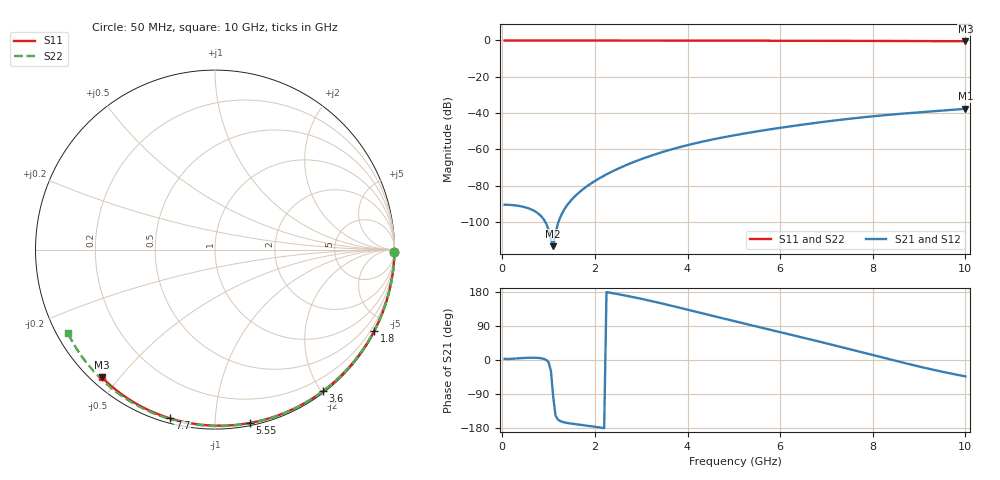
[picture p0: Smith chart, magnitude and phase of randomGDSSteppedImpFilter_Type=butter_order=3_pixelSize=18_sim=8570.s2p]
! freq	dB(S11)	phase(S11)	dB(S12)	phase(S12)
!  dB(S21)	phase(S21)	dB(S22)	phase(S22)
!S-par simulation data
#  GHz  S  DB  R 50
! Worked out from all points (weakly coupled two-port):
!   200 points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, 50 MHz to 10 GHz, reference 50 ohm
!   highest |S21| = -37.60 dB at 10 GHz (marker M1); lowest = -113.2 dB at 1.1 GHz (marker M2)
!   lowest |S11| = -0.4 dB at 10 GHz (marker M3), VSWR 39.35, Z = 1.53 - j22.5 ohm
!   |S11| at or under -10 dB: nowhere
!   |S22| runs from -0.5 to 0.0 dB; largest |S21 - S12| = 0
!   S11 on the Smith chart (normalised r, x): 50 MHz: open; 1.8 GHz: 0.04, -4.17; 3.6 GHz: 0.02, -2.02; 5.55 GHz: 0.02, -1.22; 7.7 GHz: 0.02, -0.77; 10 GHz: 0.03, -0.45
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0.05  -0.00 -0.8  -90.37 3.0  -90.37 3.0  -0.00 -0.9
0.55  -0.01 -8.3  -92.24 5.8  -92.24 5.8  -0.01 -9.5
1.1  -0.02 -16.6  -113.20 -97.7  -113.20 -97.7  -0.02 -18.9
1.75  -0.03 -26.2  -81.72 -172.0  -81.72 -172.0  -0.04 -29.9
1.8  -0.03 -26.9  -80.75 -172.8  -80.75 -172.8  -0.04 -30.7
1.85  -0.04 -27.7  -79.84 -173.6  -79.84 -173.6  -0.04 -31.5
2.15  -0.04 -32.1  -75.08 -178.9  -75.08 -178.9  -0.05 -36.5
2.35  -0.04 -35.0  -72.39 177.0  -72.39 177.0  -0.05 -39.8
2.55  -0.05 -37.8  -69.98 172.6  -69.98 172.6  -0.05 -43.1
2.95  -0.06 -43.6  -65.80 162.8  -65.80 162.8  -0.06 -49.5
3.4  -0.07 -49.9  -61.86 150.5  -61.86 150.5  -0.08 -56.7
3.6  -0.07 -52.7  -60.33 144.8  -60.33 144.8  -0.08 -59.9
3.9  -0.08 -56.8  -58.24 135.9  -58.24 135.9  -0.09 -64.5
4.3  -0.09 -62.3  -55.80 123.8  -55.80 123.8  -0.10 -70.7
5.05  -0.11 -72.2  -51.98 101.4  -51.98 101.4  -0.13 -81.9
5.55  -0.13 -78.7  -49.83 86.7  -49.83 86.7  -0.15 -89.2
6.1  -0.15 -85.6  -47.70 70.7  -47.70 70.7  -0.17 -97.1
6.7  -0.18 -93.1  -45.58 53.0  -45.58 53.0  -0.21 -105.5
7.7  -0.24 -105.1  -42.52 22.4  -42.52 22.4  -0.28 -119.3
8.35  -0.28 -112.7  -40.90 2.2  -40.90 2.2  -0.33 -128.0
9.2  -0.36 -122.4  -39.17 -22.9  -39.17 -22.9  -0.42 -139.5
10  -0.44 -131.5  -37.60 -43.3  -37.60 -43.3  -0.51 -150.5
